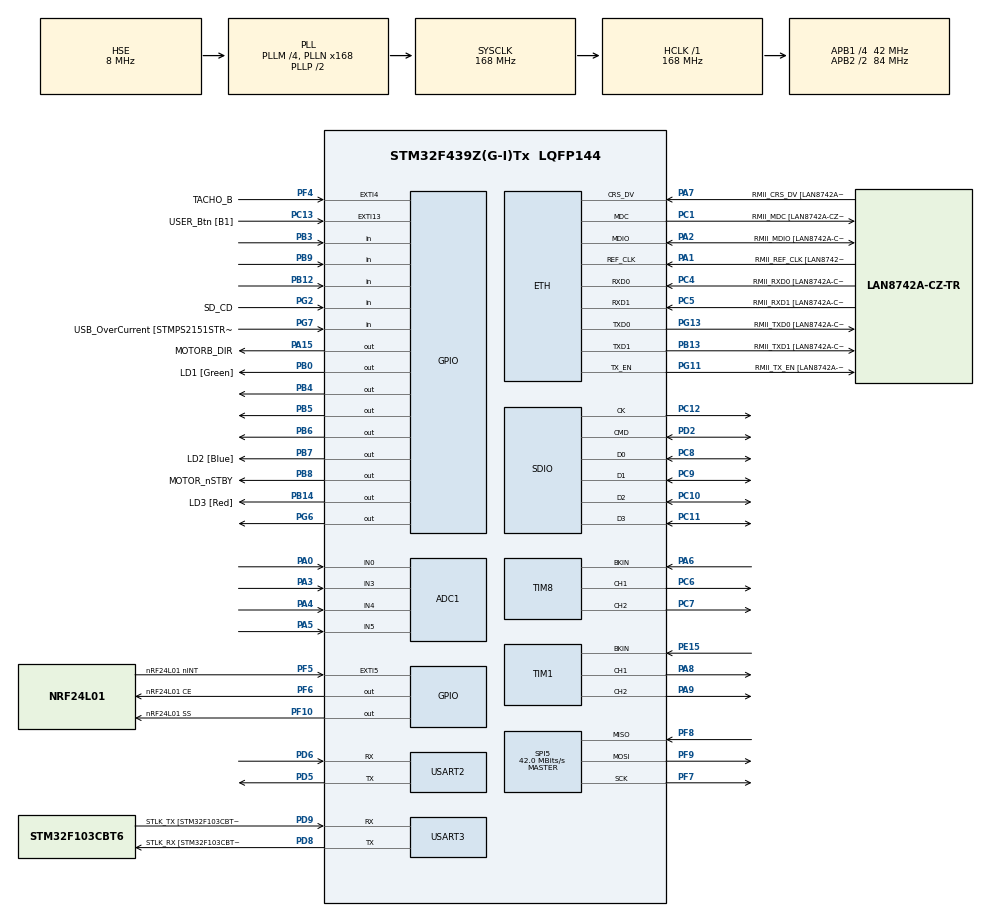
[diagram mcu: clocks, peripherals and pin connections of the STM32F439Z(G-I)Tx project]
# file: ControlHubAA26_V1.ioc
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ADC1.Channel-0\#ChannelRegularConversion=ADC_CHANNEL_0
ADC1.Channel-1\#ChannelRegularConversion=ADC_CHANNEL_3
ADC1.Channel-2\#ChannelRegularConversion=ADC_CHANNEL_4
ADC1.Channel-3\#ChannelRegularConversion=ADC_CHANNEL_5
ADC1.DMAContinuousRequests=ENABLE
ADC1.ExternalTrigConv=ADC_EXTERNALTRIGCONV_T2_TRGO
ADC1.NbrOfConversion=4
ADC1.NbrOfConversionFlag=1
ADC1.Rank-0\#ChannelRegularConversion=1
ADC1.Rank-1\#ChannelRegularConversion=2
ADC1.Rank-2\#ChannelRegularConversion=3
ADC1.Rank-3\#ChannelRegularConversion=4
ADC1.SamplingTime-0\#ChannelRegularConversion=ADC_SAMPLETIME_144CYCLES
ADC1.SamplingTime-1\#ChannelRegularConversion=ADC_SAMPLETIME_144CYCLES
ADC1.SamplingTime-2\#ChannelRegularConversion=ADC_SAMPLETIME_144CYCLES
ADC1.SamplingTime-3\#ChannelRegularConversion=ADC_SAMPLETIME_144CYCLES
ADC1.master=1
Dma.ADC1.2.Direction=DMA_PERIPH_TO_MEMORY
Dma.ADC1.2.FIFOMode=DMA_FIFOMODE_DISABLE
Dma.ADC1.2.Instance=DMA2_Stream0
Dma.ADC1.2.MemDataAlignment=DMA_MDATAALIGN_HALFWORD
Dma.ADC1.2.MemInc=DMA_MINC_ENABLE
Dma.ADC1.2.Mode=DMA_CIRCULAR
Dma.ADC1.2.PeriphDataAlignment=DMA_PDATAALIGN_HALFWORD
Dma.ADC1.2.PeriphInc=DMA_PINC_DISABLE
Dma.ADC1.2.Priority=DMA_PRIORITY_LOW
Dma.Request0=SDIO_RX
Dma.Request1=SDIO_TX
Dma.Request2=ADC1
Dma.SDIO_RX.0.Direction=DMA_PERIPH_TO_MEMORY
Dma.SDIO_RX.0.FIFOMode=DMA_FIFOMODE_ENABLE
Dma.SDIO_RX.0.FIFOThreshold=DMA_FIFO_THRESHOLD_FULL
Dma.SDIO_RX.0.Instance=DMA2_Stream3
Dma.SDIO_RX.0.MemBurst=DMA_MBURST_INC4
Dma.SDIO_RX.0.MemDataAlignment=DMA_MDATAALIGN_WORD
Dma.SDIO_RX.0.MemInc=DMA_MINC_ENABLE
Dma.SDIO_RX.0.Mode=DMA_PFCTRL
Dma.SDIO_RX.0.PeriphBurst=DMA_PBURST_INC4
Dma.SDIO_RX.0.PeriphDataAlignment=DMA_PDATAALIGN_WORD
Dma.SDIO_RX.0.PeriphInc=DMA_PINC_DISABLE
Dma.SDIO_RX.0.Priority=DMA_PRIORITY_VERY_HIGH
Dma.SDIO_TX.1.Direction=DMA_MEMORY_TO_PERIPH
Dma.SDIO_TX.1.FIFOMode=DMA_FIFOMODE_ENABLE
Dma.SDIO_TX.1.FIFOThreshold=DMA_FIFO_THRESHOLD_FULL
Dma.SDIO_TX.1.Instance=DMA2_Stream6
Dma.SDIO_TX.1.MemBurst=DMA_MBURST_INC4
Dma.SDIO_TX.1.MemDataAlignment=DMA_MDATAALIGN_WORD
Dma.SDIO_TX.1.MemInc=DMA_MINC_ENABLE
Dma.SDIO_TX.1.Mode=DMA_PFCTRL
Dma.SDIO_TX.1.PeriphBurst=DMA_PBURST_INC4
Dma.SDIO_TX.1.PeriphDataAlignment=DMA_PDATAALIGN_WORD
Dma.SDIO_TX.1.PeriphInc=DMA_PINC_DISABLE
Dma.SDIO_TX.1.Priority=DMA_PRIORITY_VERY_HIGH
ETH.MediaInterface=HAL_ETH_RMII_MODE
ETH.PHY_Name=LAN8742A_PHY_ADDRESS
ETH.PHY_Value=0
ETH.PhyAddress=0
FATFS._FS_REENTRANT=1
FATFS._USE_LFN=2
FREERTOS.Tasks01=defaultTask,24,512,StartDefaultTask,Default,NULL,Dynamic,NULL,NULL
FREERTOS.configCHECK_FOR_STACK_OVERFLOW=2
FREERTOS.configTOTAL_HEAP_SIZE=65536
FREERTOS.configUSE_NEWLIB_REENTRANT=1
LWIP.BSP.number=1
LWIP.GATEWAY_ADDRESS=192.168.000.001
LWIP.IP_ADDRESS=192.168.000.200
LWIP.LWIP_DHCP=0
LWIP.LWIP_HTTPD=1
LWIP.LWIP_HTTPD_CGI_SSI=1
LWIP.LWIP_STATS=1
LWIP.MEM_SIZE=8000
LWIP.NETMASK_ADDRESS=255.255.255.000
LWIP.TCPIP_THREAD_STACKSIZE=2048
LWIP.Version=v2.1.2_Cube
LWIP0.BSP.STBoard=false
LWIP0.BSP.api=BSP_COMPONENT_DRIVER
LWIP0.BSP.component=LAN8742
LWIP0.BSP.instance=LAN8742
LWIP0.BSP.name=Driver_PHY
LWIP0.BSP.semaphore=S_LAN8742
LWIP0.BSP.solution=LAN8742
Mcu.Family=STM32F4
Mcu.Name=STM32F439Z(G-I)Tx
Mcu.Package=LQFP144
NVIC.DMA2_Stream0_IRQn=true\:5\:0\:false\:false\:true\:true\:false\:true\:true
NVIC.DMA2_Stream3_IRQn=true\:5\:0\:false\:false\:true\:true\:false\:true\:true
NVIC.DMA2_Stream6_IRQn=true\:5\:0\:false\:false\:true\:true\:false\:true\:true
NVIC.ETH_IRQn=true\:5\:0\:false\:false\:true\:true\:false\:true\:true
NVIC.EXTI9_5_IRQn=true\:7\:0\:true\:false\:true\:true\:true\:true\:true
NVIC.PriorityGroup=NVIC_PRIORITYGROUP_4
NVIC.TIM1_BRK_TIM9_IRQn=true\:8\:0\:true\:false\:true\:true\:true\:true\:true
NVIC.TIM6_DAC_IRQn=true\:15\:0\:false\:false\:true\:false\:false\:true\:true
NVIC.TIM8_BRK_TIM12_IRQn=true\:8\:0\:true\:false\:true\:true\:true\:true\:true
NVIC.TimeBase=TIM6_DAC_IRQn
NVIC.TimeBaseIP=TIM6
PA0/WKUP.Signal=ADCx_IN0
PA1.GPIO_Label=RMII_REF_CLK [LAN8742A-CZ-TR_REFCLK0]
PA1.Mode=RMII
PA1.Signal=ETH_REF_CLK
PA10.GPIO_Label=USB_ID
PA10.Signal=USB_OTG_FS_ID
PA11.GPIO_Label=USB_DM
PA11.Signal=USB_OTG_FS_DM
PA12.GPIO_Label=USB_DP
PA12.Signal=USB_OTG_FS_DP
PA13.GPIO_Label=TMS
PA13.Mode=Serial_Wire
PA13.Signal=SYS_JTMS-SWDIO
PA14.GPIO_Label=TCK
PA14.Mode=Serial_Wire
PA14.Signal=SYS_JTCK-SWCLK
PA15.GPIO_Label=MOTORB_DIR
PA15.Signal=GPIO_Output
PA2.GPIO_Label=RMII_MDIO [LAN8742A-CZ-TR_MDIO]
PA2.Mode=RMII
PA2.Signal=ETH_MDIO
PA3.Signal=ADCx_IN3
PA4.Signal=ADCx_IN4
PA5.Signal=ADCx_IN5
PA6.Mode=Activate-Break-Input
PA6.Signal=TIM8_BKIN
PA7.GPIO_Label=RMII_CRS_DV [LAN8742A-CZ-TR_CRS_DV]
PA7.Mode=RMII
PA7.Signal=ETH_CRS_DV
PA8.Signal=S_TIM1_CH1
PA9.Signal=S_TIM1_CH2
PB0.GPIO_Label=LD1 [Green]
PB0.Signal=GPIO_Output
PB12.Signal=GPIO_Input
PB13.GPIO_Label=RMII_TXD1 [LAN8742A-CZ-TR_TXD1]
PB13.Mode=RMII
PB13.Signal=ETH_TXD1
PB14.GPIO_Label=LD3 [Red]
PB14.Signal=GPIO_Output
PB3.Signal=GPIO_Input
PB4.Signal=GPIO_Output
PB5.Signal=GPIO_Output
PB6.Signal=GPIO_Output
PB7.GPIO_Label=LD2 [Blue]
PB7.Signal=GPIO_Output
PB8.GPIO_Label=MOTOR_nSTBY
PB8.Signal=GPIO_Output
PB9.Signal=GPIO_Input
PC1.GPIO_Label=RMII_MDC [LAN8742A-CZ-TR_MDC]
PC1.Mode=RMII
PC1.Signal=ETH_MDC
PC10.Mode=SD_4_bits_Wide_bus
PC10.Signal=SDIO_D2
PC11.Mode=SD_4_bits_Wide_bus
PC11.Signal=SDIO_D3
PC12.Mode=SD_4_bits_Wide_bus
PC12.Signal=SDIO_CK
PC13.GPIO_Label=USER_Btn [B1]
PC13.Signal=GPXTI13
PC14/OSC32_IN.Mode=LSE-External-Oscillator
PC14/OSC32_IN.Signal=RCC_OSC32_IN
PC15/OSC32_OUT.Mode=LSE-External-Oscillator
PC15/OSC32_OUT.Signal=RCC_OSC32_OUT
PC4.GPIO_Label=RMII_RXD0 [LAN8742A-CZ-TR_RXD0]
PC4.Mode=RMII
PC4.Signal=ETH_RXD0
PC5.GPIO_Label=RMII_RXD1 [LAN8742A-CZ-TR_RXD1]
PC5.Mode=RMII
PC5.Signal=ETH_RXD1
PC6.Signal=S_TIM8_CH1
PC7.Signal=S_TIM8_CH2
PC8.Mode=SD_4_bits_Wide_bus
PC8.Signal=SDIO_D0
PC9.Mode=SD_4_bits_Wide_bus
PC9.Signal=SDIO_D1
PD2.Mode=SD_4_bits_Wide_bus
PD2.Signal=SDIO_CMD
PD5.Mode=Asynchronous
PD5.Signal=USART2_TX
PD6.Mode=Asynchronous
PD6.Signal=USART2_RX
PD8.GPIO_Label=STLK_RX [STM32F103CBT6_PA3]
PD8.Mode=Asynchronous
PD8.Signal=USART3_TX
PD9.GPIO_Label=STLK_TX [STM32F103CBT6_PA2]
PD9.Mode=Asynchronous
PD9.Signal=USART3_RX
PE15.Mode=Activate-Break-Input
PE15.Signal=TIM1_BKIN
PF10.GPIO_Label=nRF24L01 SS
PF10.PinState=GPIO_PIN_SET
PF10.Signal=GPIO_Output
PF4.GPIO_Label=TACHO_B
PF4.GPIO_ModeDefaultEXTI=GPIO_MODE_IT_RISING_FALLING
PF4.Signal=GPXTI4
PF5.GPIO_Label=nRF24L01 nINT
PF5.GPIO_ModeDefaultEXTI=GPIO_MODE_IT_FALLING
PF5.GPIO_PuPd=GPIO_PULLUP
PF5.Signal=GPXTI5
PF6.GPIO_Label=nRF24L01 CE
PF6.GPIO_Speed=GPIO_SPEED_FREQ_LOW
PF6.Signal=GPIO_Output
PF7.Mode=Full_Duplex_Master
PF7.Signal=SPI5_SCK
PF8.Mode=Full_Duplex_Master
PF8.Signal=SPI5_MISO
PF9.Mode=Full_Duplex_Master
PF9.Signal=SPI5_MOSI
PG11.GPIO_Label=RMII_TX_EN [LAN8742A-CZ-TR_TXEN]
PG11.Mode=RMII
PG11.Signal=ETH_TX_EN
PG13.GPIO_Label=RMII_TXD0 [LAN8742A-CZ-TR_TXD0]
PG13.Mode=RMII
PG13.Signal=ETH_TXD0
PG2.GPIO_Label=SD_CD
PG2.GPIO_PuPd=GPIO_PULLUP
PG2.Signal=GPIO_Input
PG6.Signal=GPIO_Output
PG7.GPIO_Label=USB_OverCurrent [STMPS2151STR_FAULT]
PG7.Signal=GPIO_Input
PH0/OSC_IN.GPIO_Label=MCO [STM32F103CBT6_PA8]
PH0/OSC_IN.Mode=HSE-External-Clock-Source
PH0/OSC_IN.Signal=RCC_OSC_IN
PH1/OSC_OUT.Mode=HSE-External-Clock-Source
PH1/OSC_OUT.Signal=RCC_OSC_OUT
ProjectManager.HeapSize=0x200
ProjectManager.StackSize=0x400
ProjectManager.TargetToolchain=STM32CubeIDE
RCC.48MHZClocksFreq_Value=48000000
RCC.AHBFreq_Value=168000000
RCC.APB1CLKDivider=RCC_HCLK_DIV4
RCC.APB1Freq_Value=42000000
RCC.APB1TimFreq_Value=84000000
RCC.APB2CLKDivider=RCC_HCLK_DIV2
RCC.APB2Freq_Value=84000000
RCC.APB2TimCLKDivider=2
RCC.APB2TimFreq_Value=168000000
RCC.CortexFreq_Value=168000000
RCC.HCLKFreq_Value=168000000
RCC.HSE_VALUE=8000000
RCC.HSI_VALUE=16000000
RCC.PLLM=4
RCC.PLLMUL=RCC_PLL_MUL9
RCC.PLLN=168
RCC.PLLQ=7
RCC.PLLSourceVirtual=RCC_PLLSOURCE_HSE
RCC.PRESCALERUSB=RCC_USBCLKSOURCE_PLL_DIV1_5
RCC.RCC_RTC_Clock_Source=RCC_RTCCLKSOURCE_LSE
RCC.SYSCLKFreq_VALUE=168000000
RCC.SYSCLKSource=RCC_SYSCLKSOURCE_PLLCLK
RCC.SYSCLKSourceVirtual=RCC_SYSCLKSOURCE_PLLCLK
RCC.USBFreq_Value=48000000
RCC.VCOOutputFreq_Value=336000000
SH.ADCx_IN0.0=ADC1_IN0,IN0
SH.ADCx_IN3.0=ADC1_IN3,IN3
SH.ADCx_IN4.0=ADC1_IN4,IN4
SH.ADCx_IN5.0=ADC1_IN5,IN5
SH.S_TIM1_CH1.0=TIM1_CH1,PWM Generation1 CH1
SH.S_TIM1_CH2.0=TIM1_CH2,PWM Generation2 CH2
SH.S_TIM8_CH1.0=TIM8_CH1,PWM Generation1 CH1
SH.S_TIM8_CH2.0=TIM8_CH2,PWM Generation2 CH2
SPI5.CalculateBaudRate=42.0 MBits/s
SPI5.Direction=SPI_DIRECTION_2LINES
SPI5.Mode=SPI_MODE_MASTER
SPI5.VirtualType=VM_MASTER
TIM1.Channel-PWM\ Generation1\ CH1=TIM_CHANNEL_1
TIM1.Channel-PWM\ Generation2\ CH2=TIM_CHANNEL_2
TIM2.Period=99
TIM2.Prescaler=2624
TIM2.TIM_MasterOutputTrigger=TIM_TRGO_UPDATE
TIM8.Channel-PWM\ Generation1\ CH1=TIM_CHANNEL_1
TIM8.Channel-PWM\ Generation2\ CH2=TIM_CHANNEL_2
USART2.VirtualMode=VM_ASYNC
USART3.VirtualMode=VM_ASYNC
VP_FATFS_VS_SDIO.Mode=SDIO
VP_FREERTOS_VS_CMSIS_V2.Mode=CMSIS_V2
VP_LWIP_VS_Enabled.Mode=Enabled
VP_RTC_VS_RTC_Activate.Mode=RTC_Enabled
VP_SYS_VS_tim6.Mode=TIM6
VP_TIM2_VS_ClockSourceINT.Mode=Internal
board=NUCLEO-F439ZI

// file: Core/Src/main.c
/* USER CODE BEGIN Header */
/**
  ******************************************************************************
  * @file           : main.c
  * @brief          : Main program body
  ******************************************************************************
  * @attention
  *
  * Copyright (c) 2026 STMicroelectronics.
  * All rights reserved.
  *
  * This software is licensed under terms that can be found in the LICENSE file
  * in the root directory of this software component.
  * If no LICENSE file comes with this software, it is provided AS-IS.
  *
  ******************************************************************************
  */
/* USER CODE END Header */
#include "main.h"
#include "cmsis_os.h"
#include "fatfs.h"
#include "lwip.h"

/* USER CODE BEGIN Includes */
#include "app_main.h"
#include "uart2.h"
#include "spi5.h"
#include "main_tasks.h"
/* USER CODE END Includes */

/* USER CODE BEGIN PTD */

/* Snapshot taken by Error_Handler() so an intermittent failure can be
   diagnosed after the fact. Halt in the debugger (or attach WITHOUT reset
   if it failed standalone - a reset wipes RAM) and inspect errorSnapshot
   in the Expressions / Live Expressions view.

   The raw register copies are kept alongside the decoded flags so nothing
   is lost if the decoding turns out to be the wrong question. Bit
   positions are RM0090 (STM32F42x/43x reference manual). */
typedef struct
{
  uint32_t caller;          /* return address into the function that called
                               Error_Handler() - paste into the Disassembly
                               view or addr2line to get the file:line */
  uint32_t tick;            /* HAL tick (ms since boot) at the failure */

  /* Reset cause for THIS boot, latched in main() before anything runs.
     RCC_CSR bits 31..24: LPWR WWDG IWDG SFT POR PIN BOR (RM0090 7.3.21) */
  uint32_t bootRccCsr;
  uint8_t  resetByLowPower;
  uint8_t  resetByWwdg;
  uint8_t  resetByIwdg;
  uint8_t  resetBySoftware;
  uint8_t  resetByPorPdr;   /* power-on / power-down reset */
  uint8_t  resetByPin;      /* NRST - the reset button, or ST-LINK */
  uint8_t  resetByBor;      /* brown-out: VDD sagged below the BOR level */

  /* Clock tree at the failure. HSE is in BYPASS, fed by the ST-LINK's
     8 MHz MCO, so an ST-LINK that is unpowered or still enumerating
     shows up here as hseReady == 0. */
  uint32_t rccCr;
  uint32_t rccCfgr;
  uint32_t rccCir;
  uint8_t  hseReady;        /* RCC_CR.HSERDY */
  uint8_t  pllReady;        /* RCC_CR.PLLRDY */
  uint8_t  sysclkSource;    /* RCC_CFGR.SWS: 0 = HSI, 1 = HSE, 2 = PLL */
  uint8_t  clockSecurityFault; /* RCC_CIR.CSSF: HSE failed while in use */

  /* Supply. The PVD is switched on by Error_Handler() itself at its
     highest threshold (2.9 V) purely to take this one reading. */
  uint32_t pwrCr;
  uint32_t pwrCsr;
  uint8_t  vddBelow2V9;     /* PWR_CSR.PVDO after enabling the PVD */
  uint8_t  regulatorScaleReady; /* PWR_CSR.VOSRDY */

  /* BOR threshold from the option bytes (FLASH_OPTCR.BOR_LEV, RM0090 3.7.1):
     3 = BOR off (reset only at ~1.7 V POR/PDR), 2 = 2.1 V, 1 = 2.4 V,
     0 = 2.7 V. With BOR off a sagging supply is not caught by a clean
     reset - the part can run on at marginal voltage and fail oddly. */
  uint8_t  borLevel;

  /* Ethernet. HAL_ETH_Init() fails when the MAC DMA software reset never
     completes, which happens when the LAN8742 is not supplying the 50 MHz
     RMII REF_CLK. ETH_DMABMR.SR still set means exactly that. Only
     meaningful when ethClockEnabled is set. */
  uint8_t  ethClockEnabled; /* RCC_AHB1ENR.ETHMACEN */
  uint8_t  ethDmaResetStuck;/* ETH_DMABMR.SR */
} ErrorSnapshot_t;

/* USER CODE END PTD */

ADC_HandleTypeDef hadc1;
DMA_HandleTypeDef hdma_adc1;

RTC_HandleTypeDef hrtc;

SD_HandleTypeDef hsd;
DMA_HandleTypeDef hdma_sdio_rx;
DMA_HandleTypeDef hdma_sdio_tx;

SPI_HandleTypeDef hspi5;

TIM_HandleTypeDef htim1;
TIM_HandleTypeDef htim2;
TIM_HandleTypeDef htim8;

UART_HandleTypeDef huart2;
UART_HandleTypeDef huart3;

/* Definitions for defaultTask */
osThreadId_t defaultTaskHandle;
const osThreadAttr_t defaultTask_attributes = {
  .name = "defaultTask",
  .stack_size = 512 * 4,
  .priority = (osPriority_t) osPriorityNormal,
};
/* USER CODE BEGIN PV */

/* Definitions for testTask */
osThreadId_t testTaskHandle;
const osThreadAttr_t testTask_attributes = {
  .name = "testTask",
  .stack_size = 256 * 4,
  .priority = (osPriority_t) osPriorityNormal,
};

/* Reset cause for this boot - see ErrorSnapshot_t. Also worth a look when
   there is no failure: a board that "just reset" shows why here. */
volatile uint32_t bootResetFlags;

/* Filled in by Error_Handler(); errorSnapshotValid is 0 until then. */
volatile ErrorSnapshot_t errorSnapshot;
volatile uint32_t errorSnapshotValid;

/* USER CODE END PV */

void SystemClock_Config(void);
static void MX_GPIO_Init(void);
static void MX_DMA_Init(void);
static void MX_SDIO_SD_Init(void);
static void MX_USART3_UART_Init(void);
static void MX_ADC1_Init(void);
static void MX_SPI5_Init(void);
static void MX_TIM1_Init(void);
static void MX_TIM8_Init(void);
static void MX_USART2_UART_Init(void);
static void MX_TIM2_Init(void);
static void MX_RTC_Init(void);
void StartDefaultTask(void *argument);

/* USER CODE BEGIN PFP */

void StartTestTask(void *argument);

/* USER CODE END PFP */

int main(void)
{

  /* USER CODE BEGIN 1 */

  /* The RCC_CSR reset flags are sticky: they accumulate across every reset
     until cleared, so without RMVF a pin reset after a brown-out would
     still show BOR. Latch them, then clear, so each boot reports only its
     own cause. Plain register access - this runs before HAL_Init(). */
  bootResetFlags = RCC->CSR;
  RCC->CSR |= RCC_CSR_RMVF;

  /* USER CODE END 1 */

  /* MCU Configuration--------------------------------------------------------*/

  /* Reset of all peripherals, Initializes the Flash interface and the Systick. */
  HAL_Init();

  /* Configure the system clock */
  SystemClock_Config();

  /* Initialize all configured peripherals */
  MX_GPIO_Init();
  MX_DMA_Init();
  MX_SDIO_SD_Init();
  MX_USART3_UART_Init();
  MX_ADC1_Init();
  MX_SPI5_Init();
  MX_TIM1_Init();
  MX_TIM8_Init();
  MX_USART2_UART_Init();
  MX_FATFS_Init();
  MX_TIM2_Init();
  MX_RTC_Init();
  /* USER CODE BEGIN 2 */

  uart2_init();

  /* Drops SPI5 from the 42 MHz CubeMX leaves it at, which no device on
     this bus can take, to 5.25 MHz. Chip selects are parked by their own
     drivers (see nRF24L01::init()). */
  spi5_init();

  /* USER CODE END 2 */

  /* Init scheduler */
  osKernelInitialize();

  /* Create the thread(s) */
  /* creation of defaultTask */
  defaultTaskHandle = osThreadNew(StartDefaultTask, NULL, &defaultTask_attributes);

  /* USER CODE BEGIN RTOS_THREADS */
  /* creation of testTask */
  //testTaskHandle = osThreadNew(StartTestTask, NULL, &testTask_attributes);

  initTasks();
  /* USER CODE END RTOS_THREADS */

  /* Start scheduler */
  osKernelStart();

  /* We should never get here as control is now taken by the scheduler */

  /* Infinite loop */
  while (1)
  {

  }
}

void SystemClock_Config(void)
{
  RCC_OscInitTypeDef RCC_OscInitStruct = {0};
  RCC_ClkInitTypeDef RCC_ClkInitStruct = {0};

  /** Configure the main internal regulator output voltage
  */
  __HAL_RCC_PWR_CLK_ENABLE();
  __HAL_PWR_VOLTAGESCALING_CONFIG(PWR_REGULATOR_VOLTAGE_SCALE1);

  /** Initializes the RCC Oscillators according to the specified parameters
  * in the RCC_OscInitTypeDef structure.
  */
  RCC_OscInitStruct.OscillatorType = RCC_OSCILLATORTYPE_HSE|RCC_OSCILLATORTYPE_LSE;
  RCC_OscInitStruct.HSEState = RCC_HSE_BYPASS;
  RCC_OscInitStruct.LSEState = RCC_LSE_ON;
  RCC_OscInitStruct.PLL.PLLState = RCC_PLL_ON;
  RCC_OscInitStruct.PLL.PLLSource = RCC_PLLSOURCE_HSE;
  RCC_OscInitStruct.PLL.PLLM = 4;
  RCC_OscInitStruct.PLL.PLLN = 168;
  RCC_OscInitStruct.PLL.PLLP = RCC_PLLP_DIV2;
  RCC_OscInitStruct.PLL.PLLQ = 7;
  if (HAL_RCC_OscConfig(&RCC_OscInitStruct) != HAL_OK)
  {
    Error_Handler();
  }

  /** Initializes the CPU, AHB and APB buses clocks
  */
  RCC_ClkInitStruct.ClockType = RCC_CLOCKTYPE_HCLK|RCC_CLOCKTYPE_SYSCLK
                              |RCC_CLOCKTYPE_PCLK1|RCC_CLOCKTYPE_PCLK2;
  RCC_ClkInitStruct.SYSCLKSource = RCC_SYSCLKSOURCE_PLLCLK;
  RCC_ClkInitStruct.AHBCLKDivider = RCC_SYSCLK_DIV1;
  RCC_ClkInitStruct.APB1CLKDivider = RCC_HCLK_DIV4;
  RCC_ClkInitStruct.APB2CLKDivider = RCC_HCLK_DIV2;

  if (HAL_RCC_ClockConfig(&RCC_ClkInitStruct, FLASH_LATENCY_5) != HAL_OK)
  {
    Error_Handler();
  }
}

static void MX_ADC1_Init(void)
{

  ADC_ChannelConfTypeDef sConfig = {0};

  /** Configure the global features of the ADC (Clock, Resolution, Data Alignment and number of conversion)
  */
  hadc1.Instance = ADC1;
  hadc1.Init.ClockPrescaler = ADC_CLOCK_SYNC_PCLK_DIV4;
  hadc1.Init.Resolution = ADC_RESOLUTION_12B;
  hadc1.Init.ScanConvMode = ENABLE;
  hadc1.Init.ContinuousConvMode = DISABLE;
  hadc1.Init.DiscontinuousConvMode = DISABLE;
  hadc1.Init.ExternalTrigConvEdge = ADC_EXTERNALTRIGCONVEDGE_RISING;
  hadc1.Init.ExternalTrigConv = ADC_EXTERNALTRIGCONV_T2_TRGO;
  hadc1.Init.DataAlign = ADC_DATAALIGN_RIGHT;
  hadc1.Init.NbrOfConversion = 4;
  hadc1.Init.DMAContinuousRequests = ENABLE;
  hadc1.Init.EOCSelection = ADC_EOC_SINGLE_CONV;
  if (HAL_ADC_Init(&hadc1) != HAL_OK)
  {
    Error_Handler();
  }

  /** Configure for the selected ADC regular channel its corresponding rank in the sequencer and its sample time.
  */
  sConfig.Channel = ADC_CHANNEL_0;
  sConfig.Rank = 1;
  sConfig.SamplingTime = ADC_SAMPLETIME_144CYCLES;
  if (HAL_ADC_ConfigChannel(&hadc1, &sConfig) != HAL_OK)
  {
    Error_Handler();
  }

  /** Configure for the selected ADC regular channel its corresponding rank in the sequencer and its sample time.
  */
  sConfig.Channel = ADC_CHANNEL_3;
  sConfig.Rank = 2;
  if (HAL_ADC_ConfigChannel(&hadc1, &sConfig) != HAL_OK)
  {
    Error_Handler();
  }

  /** Configure for the selected ADC regular channel its corresponding rank in the sequencer and its sample time.
  */
  sConfig.Channel = ADC_CHANNEL_4;
  sConfig.Rank = 3;
  if (HAL_ADC_ConfigChannel(&hadc1, &sConfig) != HAL_OK)
  {
    Error_Handler();
  }

  /** Configure for the selected ADC regular channel its corresponding rank in the sequencer and its sample time.
  */
  sConfig.Channel = ADC_CHANNEL_5;
  sConfig.Rank = 4;
  if (HAL_ADC_ConfigChannel(&hadc1, &sConfig) != HAL_OK)
  {
    Error_Handler();
  }

}

static void MX_RTC_Init(void)
{

  /** Initialize RTC Only
  */
  hrtc.Instance = RTC;
  hrtc.Init.HourFormat = RTC_HOURFORMAT_24;
  hrtc.Init.AsynchPrediv = 127;
  hrtc.Init.SynchPrediv = 255;
  hrtc.Init.OutPut = RTC_OUTPUT_DISABLE;
  hrtc.Init.OutPutPolarity = RTC_OUTPUT_POLARITY_HIGH;
  hrtc.Init.OutPutType = RTC_OUTPUT_TYPE_OPENDRAIN;
  if (HAL_RTC_Init(&hrtc) != HAL_OK)
  {
    Error_Handler();
  }

}

static void MX_SDIO_SD_Init(void)
{

  hsd.Instance = SDIO;
  hsd.Init.ClockEdge = SDIO_CLOCK_EDGE_RISING;
  hsd.Init.ClockBypass = SDIO_CLOCK_BYPASS_DISABLE;
  hsd.Init.ClockPowerSave = SDIO_CLOCK_POWER_SAVE_DISABLE;
  hsd.Init.BusWide = SDIO_BUS_WIDE_1B;
  hsd.Init.HardwareFlowControl = SDIO_HARDWARE_FLOW_CONTROL_DISABLE;
  hsd.Init.ClockDiv = 0;
  /* USER CODE BEGIN SDIO_Init 2 */

  /* SDIO_CK = 48 MHz / (ClockDiv + 2). The .ioc's 0 is 24 MHz, which is
     asking a lot of the jumper wires from CN8 to the card header; 4 gives
     8 MHz (4 MB/s on the 4 bit bus) while the wiring is unproven. Lower it
     towards 0 once reads are seen to be clean.

     Only the transfer clock: HAL_SD_InitCard() identifies the card at
     400 kHz regardless, and BSP_SD_Init() applies this one when it
     switches to the 4 bit bus. Neither runs here - with FATFS enabled,
     MX_SDIO_SD_Init() only fills hsd in, and the first f_mount() brings
     the card up (see SdCard.hpp). */
  hsd.Init.ClockDiv = 4;

  /* USER CODE END SDIO_Init 2 */

}

static void MX_SPI5_Init(void)
{

  /* SPI5 parameter configuration*/
  hspi5.Instance = SPI5;
  hspi5.Init.Mode = SPI_MODE_MASTER;
  hspi5.Init.Direction = SPI_DIRECTION_2LINES;
  hspi5.Init.DataSize = SPI_DATASIZE_8BIT;
  hspi5.Init.CLKPolarity = SPI_POLARITY_LOW;
  hspi5.Init.CLKPhase = SPI_PHASE_1EDGE;
  hspi5.Init.NSS = SPI_NSS_SOFT;
  hspi5.Init.BaudRatePrescaler = SPI_BAUDRATEPRESCALER_2;
  hspi5.Init.FirstBit = SPI_FIRSTBIT_MSB;
  hspi5.Init.TIMode = SPI_TIMODE_DISABLE;
  hspi5.Init.CRCCalculation = SPI_CRCCALCULATION_DISABLE;
  hspi5.Init.CRCPolynomial = 10;
  if (HAL_SPI_Init(&hspi5) != HAL_OK)
  {
    Error_Handler();
  }

}

static void MX_TIM1_Init(void)
{

  TIM_MasterConfigTypeDef sMasterConfig = {0};
  TIM_OC_InitTypeDef sConfigOC = {0};
  TIM_BreakDeadTimeConfigTypeDef sBreakDeadTimeConfig = {0};

  htim1.Instance = TIM1;
  htim1.Init.Prescaler = 0;
  htim1.Init.CounterMode = TIM_COUNTERMODE_UP;
  htim1.Init.Period = 65535;
  htim1.Init.ClockDivision = TIM_CLOCKDIVISION_DIV1;
  htim1.Init.RepetitionCounter = 0;
  htim1.Init.AutoReloadPreload = TIM_AUTORELOAD_PRELOAD_DISABLE;
  if (HAL_TIM_PWM_Init(&htim1) != HAL_OK)
  {
    Error_Handler();
  }
  sMasterConfig.MasterOutputTrigger = TIM_TRGO_RESET;
  sMasterConfig.MasterSlaveMode = TIM_MASTERSLAVEMODE_DISABLE;
  if (HAL_TIMEx_MasterConfigSynchronization(&htim1, &sMasterConfig) != HAL_OK)
  {
    Error_Handler();
  }
  sConfigOC.OCMode = TIM_OCMODE_PWM1;
  sConfigOC.Pulse = 0;
  sConfigOC.OCPolarity = TIM_OCPOLARITY_HIGH;
  sConfigOC.OCNPolarity = TIM_OCNPOLARITY_HIGH;
  sConfigOC.OCFastMode = TIM_OCFAST_DISABLE;
  sConfigOC.OCIdleState = TIM_OCIDLESTATE_RESET;
  sConfigOC.OCNIdleState = TIM_OCNIDLESTATE_RESET;
  if (HAL_TIM_PWM_ConfigChannel(&htim1, &sConfigOC, TIM_CHANNEL_1) != HAL_OK)
  {
    Error_Handler();
  }
  if (HAL_TIM_PWM_ConfigChannel(&htim1, &sConfigOC, TIM_CHANNEL_2) != HAL_OK)
  {
    Error_Handler();
  }
  sBreakDeadTimeConfig.OffStateRunMode = TIM_OSSR_DISABLE;
  sBreakDeadTimeConfig.OffStateIDLEMode = TIM_OSSI_DISABLE;
  sBreakDeadTimeConfig.LockLevel = TIM_LOCKLEVEL_OFF;
  sBreakDeadTimeConfig.DeadTime = 0;
  sBreakDeadTimeConfig.BreakState = TIM_BREAK_ENABLE;
  sBreakDeadTimeConfig.BreakPolarity = TIM_BREAKPOLARITY_HIGH;
  sBreakDeadTimeConfig.AutomaticOutput = TIM_AUTOMATICOUTPUT_DISABLE;
  if (HAL_TIMEx_ConfigBreakDeadTime(&htim1, &sBreakDeadTimeConfig) != HAL_OK)
  {
    Error_Handler();
  }
  HAL_TIM_MspPostInit(&htim1);

}

static void MX_TIM2_Init(void)
{

  TIM_ClockConfigTypeDef sClockSourceConfig = {0};
  TIM_MasterConfigTypeDef sMasterConfig = {0};

  htim2.Instance = TIM2;
  htim2.Init.Prescaler = 2624;
  htim2.Init.CounterMode = TIM_COUNTERMODE_UP;
  htim2.Init.Period = 99;
  htim2.Init.ClockDivision = TIM_CLOCKDIVISION_DIV1;
  htim2.Init.AutoReloadPreload = TIM_AUTORELOAD_PRELOAD_DISABLE;
  if (HAL_TIM_Base_Init(&htim2) != HAL_OK)
  {
    Error_Handler();
  }
  sClockSourceConfig.ClockSource = TIM_CLOCKSOURCE_INTERNAL;
  if (HAL_TIM_ConfigClockSource(&htim2, &sClockSourceConfig) != HAL_OK)
  {
    Error_Handler();
  }
  sMasterConfig.MasterOutputTrigger = TIM_TRGO_UPDATE;
  sMasterConfig.MasterSlaveMode = TIM_MASTERSLAVEMODE_DISABLE;
  if (HAL_TIMEx_MasterConfigSynchronization(&htim2, &sMasterConfig) != HAL_OK)
  {
    Error_Handler();
  }

}

static void MX_TIM8_Init(void)
{

  TIM_MasterConfigTypeDef sMasterConfig = {0};
  TIM_OC_InitTypeDef sConfigOC = {0};
  TIM_BreakDeadTimeConfigTypeDef sBreakDeadTimeConfig = {0};

  htim8.Instance = TIM8;
  htim8.Init.Prescaler = 0;
  htim8.Init.CounterMode = TIM_COUNTERMODE_UP;
  htim8.Init.Period = 65535;
  htim8.Init.ClockDivision = TIM_CLOCKDIVISION_DIV1;
  htim8.Init.RepetitionCounter = 0;
  htim8.Init.AutoReloadPreload = TIM_AUTORELOAD_PRELOAD_DISABLE;
  if (HAL_TIM_PWM_Init(&htim8) != HAL_OK)
  {
    Error_Handler();
  }
  sMasterConfig.MasterOutputTrigger = TIM_TRGO_RESET;
  sMasterConfig.MasterSlaveMode = TIM_MASTERSLAVEMODE_DISABLE;
  if (HAL_TIMEx_MasterConfigSynchronization(&htim8, &sMasterConfig) != HAL_OK)
  {
    Error_Handler();
  }
  sConfigOC.OCMode = TIM_OCMODE_PWM1;
  sConfigOC.Pulse = 0;
  sConfigOC.OCPolarity = TIM_OCPOLARITY_HIGH;
  sConfigOC.OCNPolarity = TIM_OCNPOLARITY_HIGH;
  sConfigOC.OCFastMode = TIM_OCFAST_DISABLE;
  sConfigOC.OCIdleState = TIM_OCIDLESTATE_RESET;
  sConfigOC.OCNIdleState = TIM_OCNIDLESTATE_RESET;
  if (HAL_TIM_PWM_ConfigChannel(&htim8, &sConfigOC, TIM_CHANNEL_1) != HAL_OK)
  {
    Error_Handler();
  }
  if (HAL_TIM_PWM_ConfigChannel(&htim8, &sConfigOC, TIM_CHANNEL_2) != HAL_OK)
  {
    Error_Handler();
  }
  sBreakDeadTimeConfig.OffStateRunMode = TIM_OSSR_DISABLE;
  sBreakDeadTimeConfig.OffStateIDLEMode = TIM_OSSI_DISABLE;
  sBreakDeadTimeConfig.LockLevel = TIM_LOCKLEVEL_OFF;
  sBreakDeadTimeConfig.DeadTime = 0;
  sBreakDeadTimeConfig.BreakState = TIM_BREAK_ENABLE;
  sBreakDeadTimeConfig.BreakPolarity = TIM_BREAKPOLARITY_HIGH;
  sBreakDeadTimeConfig.AutomaticOutput = TIM_AUTOMATICOUTPUT_DISABLE;
  if (HAL_TIMEx_ConfigBreakDeadTime(&htim8, &sBreakDeadTimeConfig) != HAL_OK)
  {
    Error_Handler();
  }
  HAL_TIM_MspPostInit(&htim8);

}

static void MX_USART2_UART_Init(void)
{

  huart2.Instance = USART2;
  huart2.Init.BaudRate = 115200;
  huart2.Init.WordLength = UART_WORDLENGTH_8B;
  huart2.Init.StopBits = UART_STOPBITS_1;
  huart2.Init.Parity = UART_PARITY_NONE;
  huart2.Init.Mode = UART_MODE_TX_RX;
  huart2.Init.HwFlowCtl = UART_HWCONTROL_NONE;
  huart2.Init.OverSampling = UART_OVERSAMPLING_16;
  if (HAL_UART_Init(&huart2) != HAL_OK)
  {
    Error_Handler();
  }

}

static void MX_USART3_UART_Init(void)
{

  huart3.Instance = USART3;
  huart3.Init.BaudRate = 115200;
  huart3.Init.WordLength = UART_WORDLENGTH_8B;
  huart3.Init.StopBits = UART_STOPBITS_1;
  huart3.Init.Parity = UART_PARITY_NONE;
  huart3.Init.Mode = UART_MODE_TX_RX;
  huart3.Init.HwFlowCtl = UART_HWCONTROL_NONE;
  huart3.Init.OverSampling = UART_OVERSAMPLING_16;
  if (HAL_UART_Init(&huart3) != HAL_OK)
  {
    Error_Handler();
  }

}

static void MX_DMA_Init(void)
{

  /* DMA controller clock enable */
  __HAL_RCC_DMA2_CLK_ENABLE();

  /* DMA interrupt init */
  /* DMA2_Stream0_IRQn interrupt configuration */
  HAL_NVIC_SetPriority(DMA2_Stream0_IRQn, 5, 0);
  HAL_NVIC_EnableIRQ(DMA2_Stream0_IRQn);
  /* DMA2_Stream3_IRQn interrupt configuration */
  HAL_NVIC_SetPriority(DMA2_Stream3_IRQn, 5, 0);
  HAL_NVIC_EnableIRQ(DMA2_Stream3_IRQn);
  /* DMA2_Stream6_IRQn interrupt configuration */
  HAL_NVIC_SetPriority(DMA2_Stream6_IRQn, 5, 0);
  HAL_NVIC_EnableIRQ(DMA2_Stream6_IRQn);

}

static void MX_GPIO_Init(void)
{
  GPIO_InitTypeDef GPIO_InitStruct = {0};

  /* GPIO Ports Clock Enable */
  __HAL_RCC_GPIOC_CLK_ENABLE();
  __HAL_RCC_GPIOF_CLK_ENABLE();
  __HAL_RCC_GPIOH_CLK_ENABLE();
  __HAL_RCC_GPIOA_CLK_ENABLE();
  __HAL_RCC_GPIOB_CLK_ENABLE();
  __HAL_RCC_GPIOE_CLK_ENABLE();
  __HAL_RCC_GPIOD_CLK_ENABLE();
  __HAL_RCC_GPIOG_CLK_ENABLE();

  /*Configure GPIO pin Output Level */
  HAL_GPIO_WritePin(nRF24L01_CE_GPIO_Port, nRF24L01_CE_Pin, GPIO_PIN_RESET);

  /*Configure GPIO pin Output Level */
  HAL_GPIO_WritePin(nRF24L01_SS_GPIO_Port, nRF24L01_SS_Pin, GPIO_PIN_SET);

  /*Configure GPIO pin Output Level */
  HAL_GPIO_WritePin(GPIOB, LD1_Pin|LD3_Pin|GPIO_PIN_4|GPIO_PIN_5
                          |GPIO_PIN_6|LD2_Pin|MOTOR_nSTBY_Pin, GPIO_PIN_RESET);

  /*Configure GPIO pin Output Level */
  HAL_GPIO_WritePin(GPIOG, GPIO_PIN_6, GPIO_PIN_RESET);

  /*Configure GPIO pin Output Level */
  HAL_GPIO_WritePin(MOTORB_DIR_GPIO_Port, MOTORB_DIR_Pin, GPIO_PIN_RESET);

  /*Configure GPIO pin : USER_Btn_Pin */
  GPIO_InitStruct.Pin = USER_Btn_Pin;
  GPIO_InitStruct.Mode = GPIO_MODE_IT_RISING;
  GPIO_InitStruct.Pull = GPIO_NOPULL;
  HAL_GPIO_Init(USER_Btn_GPIO_Port, &GPIO_InitStruct);

  /*Configure GPIO pin : TACHO_B_Pin */
  GPIO_InitStruct.Pin = TACHO_B_Pin;
  GPIO_InitStruct.Mode = GPIO_MODE_IT_RISING_FALLING;
  GPIO_InitStruct.Pull = GPIO_NOPULL;
  HAL_GPIO_Init(TACHO_B_GPIO_Port, &GPIO_InitStruct);

  /*Configure GPIO pin : nRF24L01_nINT_Pin */
  GPIO_InitStruct.Pin = nRF24L01_nINT_Pin;
  GPIO_InitStruct.Mode = GPIO_MODE_IT_FALLING;
  GPIO_InitStruct.Pull = GPIO_PULLUP;
  HAL_GPIO_Init(nRF24L01_nINT_GPIO_Port, &GPIO_InitStruct);

  /*Configure GPIO pins : nRF24L01_CE_Pin nRF24L01_SS_Pin */
  GPIO_InitStruct.Pin = nRF24L01_CE_Pin|nRF24L01_SS_Pin;
  GPIO_InitStruct.Mode = GPIO_MODE_OUTPUT_PP;
  GPIO_InitStruct.Pull = GPIO_NOPULL;
  GPIO_InitStruct.Speed = GPIO_SPEED_FREQ_LOW;
  HAL_GPIO_Init(GPIOF, &GPIO_InitStruct);

  /*Configure GPIO pins : LD1_Pin LD3_Pin PB4 PB5
                           PB6 LD2_Pin MOTOR_nSTBY_Pin */
  GPIO_InitStruct.Pin = LD1_Pin|LD3_Pin|GPIO_PIN_4|GPIO_PIN_5
                          |GPIO_PIN_6|LD2_Pin|MOTOR_nSTBY_Pin;
  GPIO_InitStruct.Mode = GPIO_MODE_OUTPUT_PP;
  GPIO_InitStruct.Pull = GPIO_NOPULL;
  GPIO_InitStruct.Speed = GPIO_SPEED_FREQ_LOW;
  HAL_GPIO_Init(GPIOB, &GPIO_InitStruct);

  /*Configure GPIO pins : PB12 PB3 PB9 */
  GPIO_InitStruct.Pin = GPIO_PIN_12|GPIO_PIN_3|GPIO_PIN_9;
  GPIO_InitStruct.Mode = GPIO_MODE_INPUT;
  GPIO_InitStruct.Pull = GPIO_NOPULL;
  HAL_GPIO_Init(GPIOB, &GPIO_InitStruct);

  /*Configure GPIO pin : SD_CD_Pin */
  GPIO_InitStruct.Pin = SD_CD_Pin;
  GPIO_InitStruct.Mode = GPIO_MODE_INPUT;
  GPIO_InitStruct.Pull = GPIO_PULLUP;
  HAL_GPIO_Init(SD_CD_GPIO_Port, &GPIO_InitStruct);

  /*Configure GPIO pin : PG6 */
  GPIO_InitStruct.Pin = GPIO_PIN_6;
  GPIO_InitStruct.Mode = GPIO_MODE_OUTPUT_PP;
  GPIO_InitStruct.Pull = GPIO_NOPULL;
  GPIO_InitStruct.Speed = GPIO_SPEED_FREQ_LOW;
  HAL_GPIO_Init(GPIOG, &GPIO_InitStruct);

  /*Configure GPIO pin : USB_OverCurrent_Pin */
  GPIO_InitStruct.Pin = USB_OverCurrent_Pin;
  GPIO_InitStruct.Mode = GPIO_MODE_INPUT;
  GPIO_InitStruct.Pull = GPIO_NOPULL;
  HAL_GPIO_Init(USB_OverCurrent_GPIO_Port, &GPIO_InitStruct);

  /*Configure GPIO pins : USB_ID_Pin USB_DM_Pin USB_DP_Pin */
  GPIO_InitStruct.Pin = USB_ID_Pin|USB_DM_Pin|USB_DP_Pin;
  GPIO_InitStruct.Mode = GPIO_MODE_AF_PP;
  GPIO_InitStruct.Pull = GPIO_NOPULL;
  GPIO_InitStruct.Speed = GPIO_SPEED_FREQ_VERY_HIGH;
  GPIO_InitStruct.Alternate = GPIO_AF10_OTG_FS;
  HAL_GPIO_Init(GPIOA, &GPIO_InitStruct);

  /*Configure GPIO pin : MOTORB_DIR_Pin */
  GPIO_InitStruct.Pin = MOTORB_DIR_Pin;
  GPIO_InitStruct.Mode = GPIO_MODE_OUTPUT_PP;
  GPIO_InitStruct.Pull = GPIO_NOPULL;
  GPIO_InitStruct.Speed = GPIO_SPEED_FREQ_LOW;
  HAL_GPIO_Init(MOTORB_DIR_GPIO_Port, &GPIO_InitStruct);

  /* EXTI interrupt init*/
  HAL_NVIC_SetPriority(EXTI9_5_IRQn, 7, 0);
  HAL_NVIC_EnableIRQ(EXTI9_5_IRQn);

}

/* USER CODE BEGIN 4 */

/**
  * @brief  Function implementing the testTask thread.
  * @param  argument: Not used
  * @retval None
  */
void StartTestTask(void *argument)
{
  (void)argument;

  TickType_t xLastWakeTime;
  const TickType_t xFrequency = pdMS_TO_TICKS(10); // 10 ms period

  char rxData[UART2__BUFFER_LEN];
  char txData[UART2__BUFFER_LEN + 8]; // "echo: " + payload + "\n"
  uint16_t rxLen;

  /* Empty for now. The loop and the delay still have to be here: a
     FreeRTOS task must never return, and spinning without osDelay would
     starve equal-priority tasks. */
  for(;;)
  {
    if (uart2_frameRx(rxData, &rxLen))
    {
      // trim the trailing CR/LF that terminated the frame
      while (rxLen > 0 && (rxData[rxLen - 1] == '\n' || rxData[rxLen - 1] == '\r'))
      {
        rxLen--;
      }

      int txLen = snprintf(txData, sizeof(txData), "echo: %.*s\n", (int)rxLen, rxData);
      HAL_UART_Transmit(&huart2, (uint8_t *)txData, txLen, HAL_MAX_DELAY);
    }

    //osDelay(10);
    vTaskDelayUntil(&xLastWakeTime, xFrequency);
  }
}

/* USER CODE END 4 */

void StartDefaultTask(void *argument)
{
  /* init code for LWIP */
  MX_LWIP_Init();
  /* USER CODE BEGIN 5 */

  HAL_GPIO_WritePin(LD1_GPIO_Port, LD1_Pin, GPIO_PIN_SET);
  /* Hand control to the C++ application layer. Runs after MX_LWIP_Init()
     and inside this task, which is the context the lwIP raw API needs. */
  App_Main();

  /* Infinite loop */
  for(;;)
  {
    osDelay(1);
  }
  /* USER CODE END 5 */
}

void HAL_TIM_PeriodElapsedCallback(TIM_HandleTypeDef *htim)
{
  if (htim->Instance == TIM6)
  {
    HAL_IncTick();
  }
}

void Error_Handler(void)
{
  /* USER CODE BEGIN Error_Handler_Debug */
  /* User can add his own implementation to report the HAL error return state */

  /* Must be the first statement, before anything else can disturb LR. */
  uint32_t caller = (uint32_t)__builtin_return_address(0);

  __disable_irq();

  volatile ErrorSnapshot_t* s = &errorSnapshot;

  s->caller = caller;
  s->tick   = uwTick;

  s->bootRccCsr      = bootResetFlags;
  s->resetByLowPower = (bootResetFlags & RCC_CSR_LPWRRSTF) != 0U;
  s->resetByWwdg     = (bootResetFlags & RCC_CSR_WWDGRSTF) != 0U;
  s->resetByIwdg     = (bootResetFlags & RCC_CSR_IWDGRSTF) != 0U;
  s->resetBySoftware = (bootResetFlags & RCC_CSR_SFTRSTF)  != 0U;
  s->resetByPorPdr   = (bootResetFlags & RCC_CSR_PORRSTF)  != 0U;
  s->resetByPin      = (bootResetFlags & RCC_CSR_PINRSTF)  != 0U;
  s->resetByBor      = (bootResetFlags & RCC_CSR_BORRSTF)  != 0U;

  s->rccCr   = RCC->CR;
  s->rccCfgr = RCC->CFGR;
  s->rccCir  = RCC->CIR;
  s->hseReady           = (s->rccCr & RCC_CR_HSERDY) != 0U;
  s->pllReady           = (s->rccCr & RCC_CR_PLLRDY) != 0U;
  s->sysclkSource       = (uint8_t)((s->rccCfgr & RCC_CFGR_SWS) >> RCC_CFGR_SWS_Pos);
  s->clockSecurityFault = (s->rccCir & RCC_CIR_CSSF) != 0U;

  /* PVD at 2.9 V (PLS = 7). PWR is normally already clocked by
     SystemClock_Config(), but this may be running before it has. The PVD
     comparator needs a short settling time (tens of us, DS9484) - the
     loop gives well over that even at 168 MHz. */
  RCC->APB1ENR |= RCC_APB1ENR_PWREN;
  (void)RCC->APB1ENR;
  PWR->CR = (PWR->CR & ~PWR_CR_PLS) | PWR_CR_PLS_LEV7 | PWR_CR_PVDE;
  for (volatile uint32_t i = 0; i < 20000U; i++) { }
  s->pwrCr  = PWR->CR;
  s->pwrCsr = PWR->CSR;
  s->vddBelow2V9         = (s->pwrCsr & PWR_CSR_PVDO)   != 0U;
  s->regulatorScaleReady = (s->pwrCsr & PWR_CSR_VOSRDY) != 0U;

  s->borLevel = (uint8_t)((FLASH->OPTCR & FLASH_OPTCR_BOR_LEV) >> FLASH_OPTCR_BOR_LEV_Pos);

  s->ethClockEnabled  = (RCC->AHB1ENR & RCC_AHB1ENR_ETHMACEN) != 0U;
  s->ethDmaResetStuck = s->ethClockEnabled && ((ETH->DMABMR & ETH_DMABMR_SR) != 0U);

  errorSnapshotValid = 1U;

  /* Flash LD3 (red, PB14) so a failure is visible without a debugger.
     Driven by register because this can run before MX_GPIO_Init(). The
     rate depends on whichever clock is running, so it is only a "we are
     in here" signal, not a timing. */
  RCC->AHB1ENR |= RCC_AHB1ENR_GPIOBEN;
  (void)RCC->AHB1ENR;
  LD3_GPIO_Port->MODER = (LD3_GPIO_Port->MODER & ~(3U << (14U * 2U))) | (1U << (14U * 2U));

  while (1)
  {
    LD3_GPIO_Port->ODR ^= LD3_Pin;
    for (volatile uint32_t i = 0; i < 2000000U; i++) { }
  }
  /* USER CODE END Error_Handler_Debug */
}
